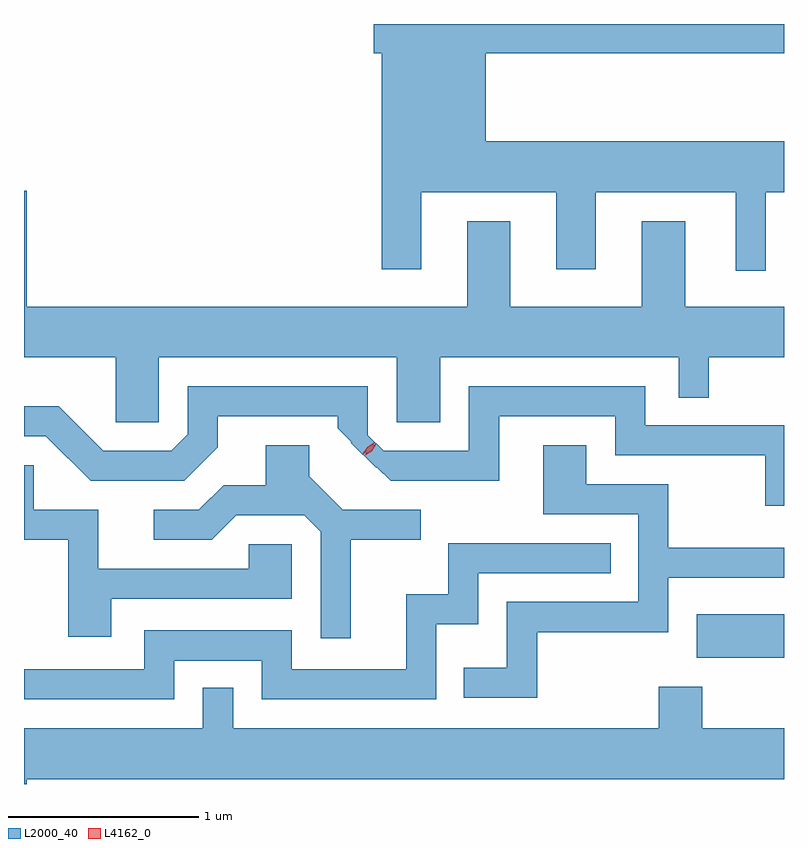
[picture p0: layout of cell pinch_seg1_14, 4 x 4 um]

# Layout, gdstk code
import gdstk
lib = gdstk.Library(unit=1e-6, precision=1e-09)
def R(c, l, rs):  # rectangles x0, y0, x1, y1
    for r in rs: c.add(gdstk.rectangle(r[:2], r[2:], *l))
def P(c, l, *ps):  # polygons
    for p in ps: c.add(gdstk.Polygon(p, *l))
L2000_40 = (2000, 40)
L4162_0 = (4162, 0)

pinch_seg1_14 = lib.new_cell('pinch_seg1_14')
R(pinch_seg1_14, L2000_40, [(1837.251,957.936,1837.709,958.164)])
P(pinch_seg1_14, L2000_40, [(1837.614,960.386),(1837.709,960.386),(1837.709,960.654),(1836.139,960.654),(1836.139,961.116),(1837.709,961.116),(1837.709,961.271),(1835.551,961.271),(1835.551,961.116),(1835.591,961.116),(1835.591,959.981),(1835.799,959.981),(1835.799,960.386),(1836.511,960.386),(1836.511,959.981),(1836.719,959.981),(1836.719,960.386),(1837.456,960.386),(1837.456,959.973),(1837.614,959.973)],
  [(1834.419,959.516),(1835.671,959.516),(1835.671,959.176),(1835.899,959.176),(1835.899,959.516),(1837.156,959.516),(1837.156,959.303),(1837.314,959.303),(1837.314,959.516),(1837.709,959.516),(1837.709,959.784),(1837.189,959.784),(1837.189,960.234),(1836.961,960.234),(1836.961,959.784),(1836.269,959.784),(1836.269,960.234),(1836.041,960.234),(1836.041,959.784),(1833.724,959.784),(1833.724,960.394),(1833.709,960.394),(1833.709,959.516),(1834.191,959.516),(1834.191,959.176),(1834.419,959.176)],
  [(1837.709,959.159),(1836.979,959.159),(1836.979,959.364),(1836.051,959.364),(1836.051,959.024),(1835.602,959.024),(1835.519,959.107),(1835.519,959.364),(1834.571,959.364),(1834.571,959.112),(1834.484,959.024),(1834.127,959.024),(1833.892,959.259),(1833.709,959.259),(1833.709,959.101),(1833.824,959.101),(1834.059,958.866),(1834.552,958.866),(1834.729,959.044),(1834.729,959.206),(1835.361,959.206),(1835.361,959.143),(1835.433,959.071),(1835.43,959.067),(1835.562,958.935),(1835.566,958.938),(1835.638,958.866),(1836.209,958.866),(1836.209,959.206),(1836.821,959.206),(1836.821,959.001),(1837.611,959.001),(1837.611,958.736),(1837.709,958.736)],
  [(1835.429,958.556),(1835.798,958.556),(1835.798,958.714),(1835.387,958.714),(1835.209,958.892),(1835.209,959.054),(1834.981,959.054),(1834.981,958.844),(1834.759,958.844),(1834.629,958.714),(1834.393,958.714),(1834.393,958.556),(1834.697,958.556),(1834.827,958.686),(1835.184,958.686),(1835.271,958.599),(1835.271,958.038),(1835.429,958.038)],
  [(1836.409,958.071),(1837.099,958.071),(1837.099,958.356),(1837.709,958.356),(1837.709,958.514),(1837.099,958.514),(1837.099,958.849),(1836.669,958.849),(1836.669,959.054),(1836.441,959.054),(1836.441,958.691),(1836.941,958.691),(1836.941,958.229),(1836.251,958.229),(1836.251,957.884),(1836.023,957.884),(1836.023,957.726),(1836.409,957.726)],
  [(1834.169,958.246),(1835.119,958.246),(1835.119,958.534),(1834.891,958.534),(1834.891,958.404),(1834.099,958.404),(1834.099,958.714),(1833.759,958.714),(1833.759,958.949),(1833.709,958.949),(1833.709,958.556),(1833.941,958.556),(1833.941,958.046),(1834.169,958.046)],
  [(1834.499,957.921),(1834.961,957.921),(1834.961,957.716),(1835.879,957.716),(1835.879,958.111),(1836.099,958.111),(1836.099,958.381),(1836.798,958.381),(1836.798,958.539),(1835.941,958.539),(1835.941,958.269),(1835.721,958.269),(1835.721,957.874),(1835.119,957.874),(1835.119,958.079),(1834.341,958.079),(1834.341,957.874),(1833.709,957.874),(1833.709,957.716),(1834.499,957.716)],
  [(1833.724,957.296),(1837.709,957.296),(1837.709,957.564),(1837.279,957.564),(1837.279,957.784),(1837.051,957.784),(1837.051,957.564),(1834.809,957.564),(1834.809,957.778),(1834.651,957.778),(1834.651,957.564),(1833.709,957.564),(1833.709,957.271),(1833.724,957.271)])
P(pinch_seg1_14, L4162_0, [(1835.493,959.007),(1835.493,959.008),(1835.517,959.046),(1835.555,959.07),(1835.555,959.07),(1835.555,959.07),(1835.531,959.032),(1835.493,959.007)],
  [(1835.506,959.002),(1835.506,959.003),(1835.525,959.037),(1835.558,959.058),(1835.559,959.058),(1835.559,959.057),(1835.539,959.023),(1835.506,959.002)])

lib.write_gds('pinch_seg1_14.gds')
